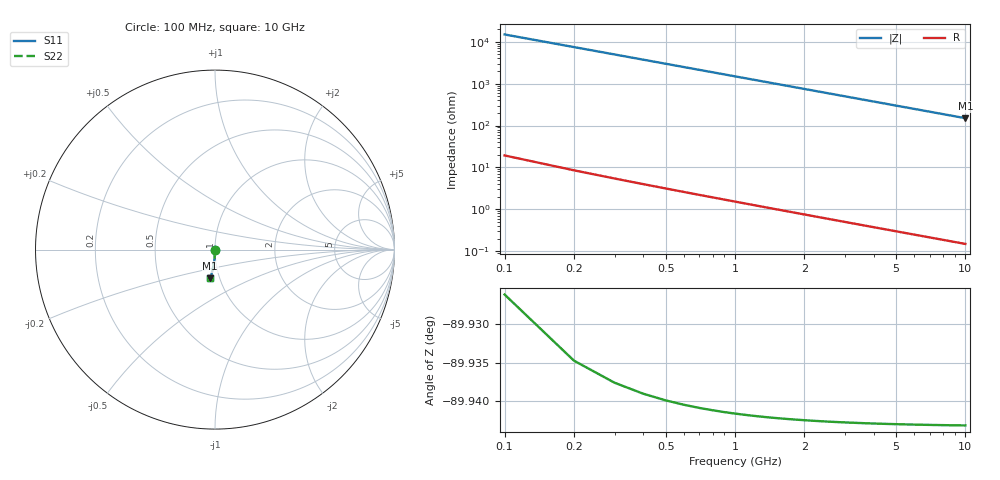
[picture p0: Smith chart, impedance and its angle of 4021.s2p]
# Hz S RI R 50.00
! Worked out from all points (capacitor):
!   100 points, 100 MHz to 10 GHz, reference 50 ohm
!   read as one part in shunt: C = 106 fF near 100 MHz
!   lowest |Z| = 150 ohm at 10 GHz (marker M1)
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1e8  4.51e-06 -0.00165  1 -0.00169  1 -0.00169  4.51e-06 -0.00165
2e8  -5.42e-06 -0.0033  1 -0.00337  1 -0.00337  -5.42e-06 -0.0033
3e8  -2.09e-05 -0.00495  1 -0.00506  1 -0.00506  -2.09e-05 -0.00495
4e8  -4.2e-05 -0.0066  0.9999 -0.00675  0.9999 -0.00675  -4.2e-05 -0.0066
5e8  -6.87e-05 -0.00825  0.9999 -0.00843  0.9999 -0.00843  -6.87e-05 -0.00825
6e8  -0.000101 -0.0099  0.9999 -0.0101  0.9999 -0.0101  -0.000101 -0.0099
7e8  -0.000139 -0.0115  0.9998 -0.0118  0.9998 -0.0118  -0.000139 -0.0115
8e8  -0.000182 -0.0132  0.9998 -0.0135  0.9998 -0.0135  -0.000182 -0.0132
9e8  -0.000231 -0.0148  0.9997 -0.0152  0.9997 -0.0152  -0.000231 -0.0148
1.1e9  -0.000345 -0.0181  0.9996 -0.0185  0.9996 -0.0185  -0.000345 -0.0181
1.4e9  -0.000559 -0.0231  0.9994 -0.0236  0.9994 -0.0236  -0.000559 -0.0231
1.8e9  -0.000921 -0.0297  0.9991 -0.0303  0.9991 -0.0303  -0.000921 -0.0297
2.1e9  -0.00125 -0.0346  0.9987 -0.0354  0.9987 -0.0354  -0.00125 -0.0346
2.5e9  -0.00177 -0.0412  0.9982 -0.0421  0.9982 -0.0421  -0.00177 -0.0412
2.9e9  -0.00237 -0.0477  0.9976 -0.0488  0.9976 -0.0488  -0.00237 -0.0477
3.4e9  -0.00325 -0.0559  0.9967 -0.0571  0.9967 -0.0571  -0.00325 -0.0559
4.2e9  -0.00494 -0.0689  0.995 -0.0705  0.995 -0.0705  -0.00494 -0.0689
5.1e9  -0.00725 -0.0835  0.9927 -0.0854  0.9927 -0.0854  -0.00725 -0.0835
5.9e9  -0.00967 -0.0964  0.9903 -0.0985  0.9903 -0.0985  -0.00967 -0.0964
6.7e9  -0.0124 -0.1091  0.9875 -0.1116  0.9875 -0.1116  -0.0124 -0.1091
8.4e9  -0.0194 -0.1358  0.9806 -0.1389  0.9806 -0.1389  -0.0194 -0.1358
1e10  -0.0272 -0.1603  0.9728 -0.164  0.9728 -0.164  -0.0272 -0.1603
